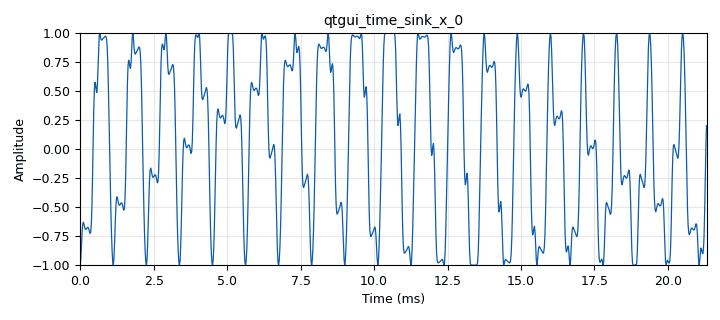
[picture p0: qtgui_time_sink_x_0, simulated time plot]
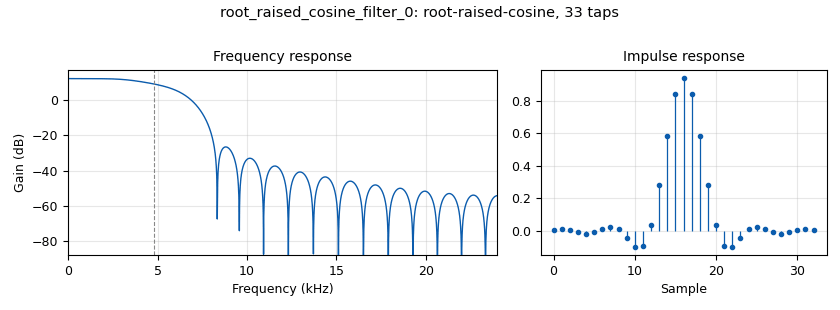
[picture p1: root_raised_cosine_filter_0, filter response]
options:
  parameters:
    author: avi
    generate_options: qt_gui
    id: FSKModulator
    output_language: python
    title: Not titled yet
  states: {}

blocks:
- name: VCO_offset
  id: variable
  parameters:
    value: '2500'
  states: {}
- name: baud_rate
  id: variable
  parameters:
    value: '9600'
  states: {}
- name: gain
  id: variable
  parameters:
    value: '4'
  states: {}
- name: roll_off
  id: variable
  parameters:
    value: '0.65'
  states: {}
- name: samp_rate
  id: variable
  parameters:
    value: '48000'
  states: {}
- name: taps
  id: variable
  parameters:
    value: '32'
  states: {}
- name: blocks_char_to_float_0
  id: blocks_char_to_float
  parameters:
    scale: '1'
  states: {}
- name: blocks_throttle_0
  id: blocks_throttle
  parameters:
    samples_per_second: baud_rate
    type: float
  states: {}
- name: blocks_vco_f_0
  id: blocks_vco_f
  parameters:
    amplitude: '1'
    samp_rate: samp_rate
    sensitivity: 2*3.14*VCO_offset
  states: {}
- name: blocks_vector_source_x_0
  id: blocks_vector_source_x
  parameters:
    repeat: 'True'
    type: byte
    vector: (1, 0 ,0,1,1,1,0,0,0,1,0)
  states: {}
- name: qtgui_time_sink_x_0
  id: qtgui_time_sink_x
  parameters:
    size: '1024'
    srate: samp_rate
    type: float
  states: {}
- name: root_raised_cosine_filter_0
  id: root_raised_cosine_filter
  parameters:
    alpha: roll_off
    gain: gain
    interp: '5'
    ntaps: taps
    samp_rate: samp_rate
    sym_rate: baud_rate
    type: interp_fir_filter_fff
  states: {}

connections:
- [blocks_char_to_float_0, '0', blocks_throttle_0, '0']
- [blocks_throttle_0, '0', root_raised_cosine_filter_0, '0']
- [blocks_vco_f_0, '0', qtgui_time_sink_x_0, '0']
- [blocks_vector_source_x_0, '0', blocks_char_to_float_0, '0']
- [root_raised_cosine_filter_0, '0', blocks_vco_f_0, '0']

metadata:
  file_format: 1
